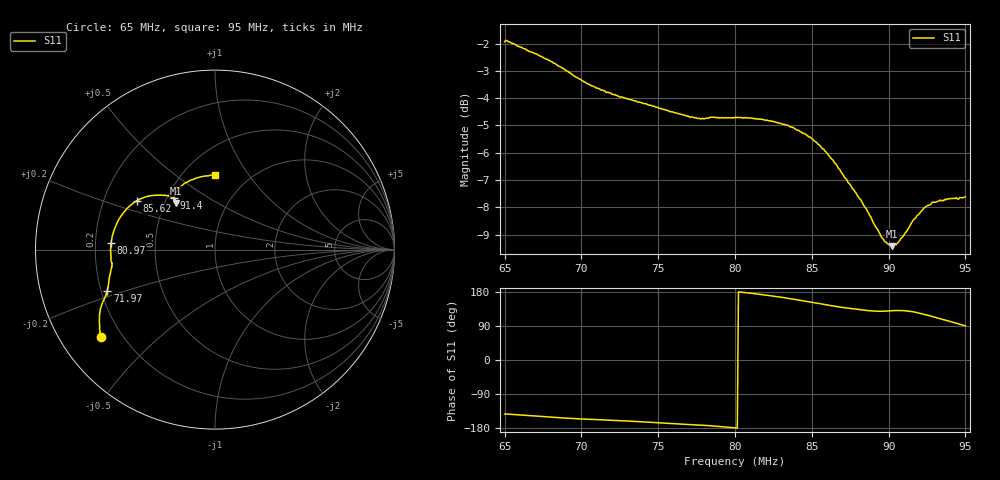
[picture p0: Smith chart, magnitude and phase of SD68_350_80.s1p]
! NanoVNA-App
! Date: 2025-08-09 13:05:19
! Start: 65MHz Stop: 95MHz Points: 401
! S-Parameter data: F S11
# Hz S RI R 50
!  Frequency  S11_Real  S11_Imag
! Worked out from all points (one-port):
!   401 points, 65 MHz to 95 MHz, reference 50 ohm
!   lowest |S11| = -9.4 dB at 90.2 MHz (marker M1), VSWR 2.02, Z = 28.6 + j16.8 ohm
!   |S11| at or under -10 dB: nowhere
!   S11 on the Smith chart (normalised r, x): 65 MHz: 0.12, -0.34; 71.97 MHz: 0.23, -0.17; 80.97 MHz: 0.27, +0.03; 85.62 MHz: 0.35, +0.26; 91.4 MHz: 0.54, +0.36; 95 MHz: 0.70, +0.71
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6.5e7  -0.6351 -0.4879
6.5225e7  -0.6381 -0.4845
6.725e7  -0.6437 -0.395
6.875e7  -0.6372 -0.3285
6.98e7  -0.6234 -0.2867
7.1975e7  -0.6 -0.2282
7.25e7  -0.5967 -0.2155
7.625e7  -0.5802 -0.1165
7.8275e7  -0.5757 -0.0699
8e7  -0.5823 -0.00765
8.0975e7  -0.5793 0.0365
8.2475e7  -0.5609 0.1136
8.375e7  -0.5272 0.1828
8.4725e7  -0.4854 0.2335
8.5625e7  -0.4349 0.272
8.6525e7  -0.3757 0.2967
8.75e7  -0.3158 0.3037
8.84e7  -0.2649 0.3004
8.915e7  -0.2298 0.2861
8.9675e7  -0.2177 0.2707
9.02e7  -0.2164 0.2595
9.0725e7  -0.225 0.263
9.125e7  -0.229 0.2814
9.14e7  -0.2281 0.2898
9.2e7  -0.2147 0.3224
9.2675e7  -0.1808 0.359
9.38e7  -0.0991 0.4006
9.5e7  -0.000181 0.4162
